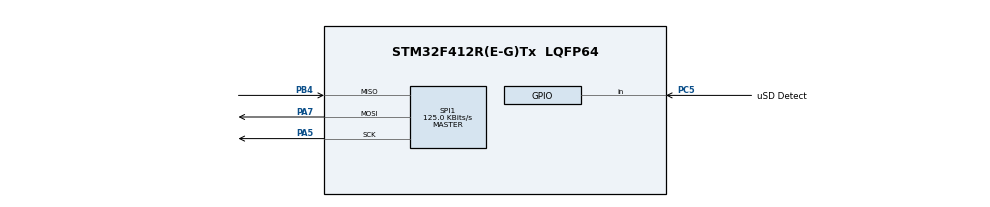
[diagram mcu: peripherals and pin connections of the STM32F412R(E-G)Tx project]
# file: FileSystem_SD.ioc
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Mcu.Family=STM32F4
Mcu.Name=STM32F412R(E-G)Tx
Mcu.Package=LQFP64
NVIC.PriorityGroup=NVIC_PRIORITYGROUP_4
PA13.Mode=Trace_Asynchronous_SW
PA13.Signal=SYS_JTMS-SWDIO
PA14.Mode=Trace_Asynchronous_SW
PA14.Signal=SYS_JTCK-SWCLK
PA5.Mode=Full_Duplex_Master
PA5.Signal=SPI1_SCK
PA7.Mode=Full_Duplex_Master
PA7.Signal=SPI1_MOSI
PB3.Mode=Trace_Asynchronous_SW
PB3.Signal=SYS_JTDO-SWO
PB4.Mode=Full_Duplex_Master
PB4.Signal=SPI1_MISO
PC5.GPIO_Label=uSD Detect
PC5.Signal=GPIO_Input
PH0\ -\ OSC_IN.Mode=HSE-External-Oscillator
PH0\ -\ OSC_IN.Signal=RCC_OSC_IN
PH1\ -\ OSC_OUT.Mode=HSE-External-Oscillator
PH1\ -\ OSC_OUT.Signal=RCC_OSC_OUT
ProjectManager.HeapSize=0x400
ProjectManager.StackSize=0x800
ProjectManager.TargetToolchain=STM32CubeIDE
RCC.CortexFreq_Value=16000000
RCC.PLLM=8
RCC.PLLN=50
RCC.USBFreq_Value=50000000
RCC.VCOOutputFreq_Value=100000000
SPI1.BaudRatePrescaler=SPI_BAUDRATEPRESCALER_128
SPI1.CalculateBaudRate=125.0 KBits/s
SPI1.Direction=SPI_DIRECTION_2LINES
SPI1.Mode=SPI_MODE_MASTER
SPI1.VirtualType=VM_MASTER
VP_FATFS_VS_Generic.Mode=User_defined
board=custom

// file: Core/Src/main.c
/* USER CODE BEGIN Header */
/**
  ******************************************************************************
  * @file           : main.c
  * @brief          : Main program body
  ******************************************************************************
  * @attention
  *
  * Copyright (c) 2022 STMicroelectronics.
  * All rights reserved.
  *
  * This software is licensed under terms that can be found in the LICENSE file
  * in the root directory of this software component.
  * If no LICENSE file comes with this software, it is provided AS-IS.
  *
  ******************************************************************************
  */
/* USER CODE END Header */
#include "main.h"
#include "fatfs.h"
#include <string.h>

SPI_HandleTypeDef hspi1;

void SystemClock_Config(void);
static void MX_GPIO_Init(void);
static void MX_SPI1_Init(void);

int main(void)
{
  /* USER CODE BEGIN 1 */
  FRESULT res;
  FATFS SDFatFS;
  FIL SDFile;
  uint8_t SDPath[] = "";
  uint32_t WrittenBytes, ReadBytes;
  uint8_t WriteBuffer[] = "Text Example Lets see if this works /n ans if /n works fine";
  uint8_t ReadBuffer[_MAX_SS];
  /* USER CODE END 1 */

  /* MCU Configuration--------------------------------------------------------*/

  /* Reset of all peripherals, Initializes the Flash interface and the Systick. */
  HAL_Init();

  /* Configure the system clock */
  SystemClock_Config();

  /* Initialize all configured peripherals */
  MX_GPIO_Init();
  MX_FATFS_Init();
  MX_SPI1_Init();
  /* USER CODE BEGIN 2 */
  if (f_mount(&SDFatFS, "",1) != FR_OK)
	  Error_Handler();

  // Open a File
  if (f_open(&SDFile, "STM32_SDText.txt",FA_CREATE_ALWAYS | FA_WRITE) != FR_OK)
	  Error_Handler();

  // Write Text
  res = f_write(&SDFile,WriteBuffer,strlen((char*)WriteBuffer),(void *)& WrittenBytes);

  if (res != FR_OK)
	  Error_Handler();

  f_close(&SDFile);

  // Read from File
  if (f_open(&SDFile, "STM32_SDText.txt",FA_READ) != FR_OK)
	  Error_Handler();

  memset(ReadBuffer,0,sizeof(ReadBuffer)); // Reset Buffer
  res = f_read(&SDFile,ReadBuffer,sizeof(ReadBuffer),(UINT *)&ReadBytes);

  if(res != FR_OK)
	  Error_Handler();

  f_close(&SDFile);

  /* USER CODE END 2 */

  /* Infinite loop */
  while (1)
  {

  }
}

void SystemClock_Config(void)
{
  RCC_OscInitTypeDef RCC_OscInitStruct = {0};
  RCC_ClkInitTypeDef RCC_ClkInitStruct = {0};

  /** Configure the main internal regulator output voltage
  */
  __HAL_RCC_PWR_CLK_ENABLE();
  __HAL_PWR_VOLTAGESCALING_CONFIG(PWR_REGULATOR_VOLTAGE_SCALE1);

  /** Initializes the RCC Oscillators according to the specified parameters
  * in the RCC_OscInitTypeDef structure.
  */
  RCC_OscInitStruct.OscillatorType = RCC_OSCILLATORTYPE_HSI;
  RCC_OscInitStruct.HSIState = RCC_HSI_ON;
  RCC_OscInitStruct.HSICalibrationValue = RCC_HSICALIBRATION_DEFAULT;
  RCC_OscInitStruct.PLL.PLLState = RCC_PLL_NONE;
  if (HAL_RCC_OscConfig(&RCC_OscInitStruct) != HAL_OK)
  {
    Error_Handler();
  }

  /** Initializes the CPU, AHB and APB buses clocks
  */
  RCC_ClkInitStruct.ClockType = RCC_CLOCKTYPE_HCLK|RCC_CLOCKTYPE_SYSCLK
                              |RCC_CLOCKTYPE_PCLK1|RCC_CLOCKTYPE_PCLK2;
  RCC_ClkInitStruct.SYSCLKSource = RCC_SYSCLKSOURCE_HSI;
  RCC_ClkInitStruct.AHBCLKDivider = RCC_SYSCLK_DIV1;
  RCC_ClkInitStruct.APB1CLKDivider = RCC_HCLK_DIV1;
  RCC_ClkInitStruct.APB2CLKDivider = RCC_HCLK_DIV1;

  if (HAL_RCC_ClockConfig(&RCC_ClkInitStruct, FLASH_LATENCY_0) != HAL_OK)
  {
    Error_Handler();
  }
}

static void MX_SPI1_Init(void)
{

  /* SPI1 parameter configuration*/
  hspi1.Instance = SPI1;
  hspi1.Init.Mode = SPI_MODE_MASTER;
  hspi1.Init.Direction = SPI_DIRECTION_2LINES;
  hspi1.Init.DataSize = SPI_DATASIZE_8BIT;
  hspi1.Init.CLKPolarity = SPI_POLARITY_LOW;
  hspi1.Init.CLKPhase = SPI_PHASE_1EDGE;
  hspi1.Init.NSS = SPI_NSS_SOFT;
  hspi1.Init.BaudRatePrescaler = SPI_BAUDRATEPRESCALER_128;
  hspi1.Init.FirstBit = SPI_FIRSTBIT_MSB;
  hspi1.Init.TIMode = SPI_TIMODE_DISABLE;
  hspi1.Init.CRCCalculation = SPI_CRCCALCULATION_DISABLE;
  hspi1.Init.CRCPolynomial = 10;
  if (HAL_SPI_Init(&hspi1) != HAL_OK)
  {
    Error_Handler();
  }

}

static void MX_GPIO_Init(void)
{
  GPIO_InitTypeDef GPIO_InitStruct = {0};

  /* GPIO Ports Clock Enable */
  __HAL_RCC_GPIOH_CLK_ENABLE();
  __HAL_RCC_GPIOA_CLK_ENABLE();
  __HAL_RCC_GPIOC_CLK_ENABLE();
  __HAL_RCC_GPIOB_CLK_ENABLE();

  /*Configure GPIO pin : uSD_Detect_Pin */
  GPIO_InitStruct.Pin = uSD_Detect_Pin;
  GPIO_InitStruct.Mode = GPIO_MODE_INPUT;
  GPIO_InitStruct.Pull = GPIO_NOPULL;
  HAL_GPIO_Init(uSD_Detect_GPIO_Port, &GPIO_InitStruct);

}

void Error_Handler(void)
{
  __disable_irq();
  while (1)
  {
  }
}
